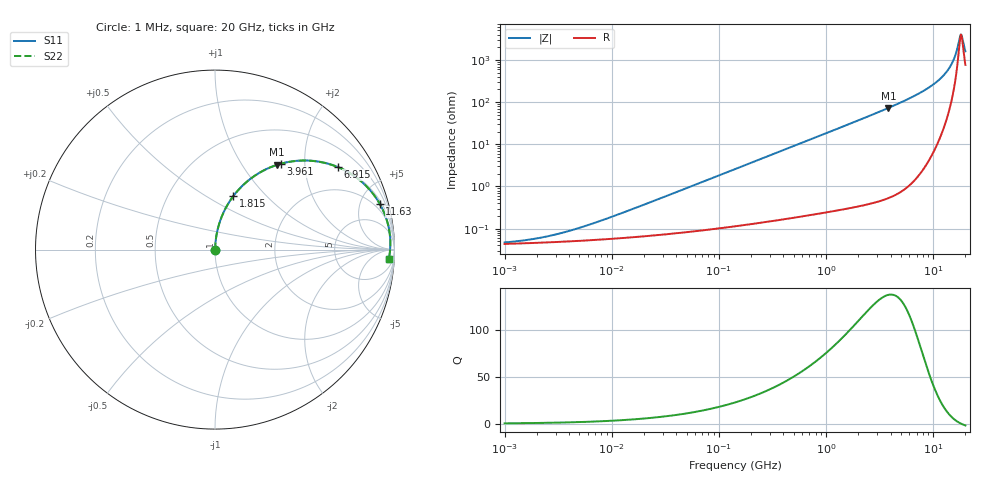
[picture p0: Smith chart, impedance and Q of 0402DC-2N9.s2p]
# MHz  S  MA  R  50
!Freq  MagS11  AngS11  MagS21  AngS21  MagS12  AngS12  MagS22  AngS22
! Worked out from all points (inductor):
!   801 points, 1 MHz to 20 GHz, reference 50 ohm
!   read as one part in series: L = 2.9 nH near 9.406 MHz
!   highest Q = 138 at 3.816 GHz (marker M1), where L = 3.03 nH
!   self-resonance near 18.17 GHz
!   S11 on the Smith chart (normalised r, x): 1 MHz: 1.00, +0.00; 1.815 GHz: 1.01, +0.67; 3.961 GHz: 1.01, +1.52; 6.915 GHz: 1.03, +2.95; 11.63 GHz: 1.29, +7.15; 20 GHz: 16, -28
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1  0.0004709 22.7  0.9996 -0.0  0.9996 -0.0  0.0004709 22.7
2.292543  0.0006267 41.8  0.9995 -0.0  0.9995 -0.0  0.0006267 41.8
5.255755  0.001088 61.6  0.9995 -0.1  0.9995 -0.1  0.001088 61.6
27.28302  0.005018 81.6  0.9993 -0.3  0.9993 -0.3  0.005018 81.6
141.6282  0.0258 86.0  0.9985 -1.5  0.9985 -1.5  0.0258 86.0
744.3631  0.1344 81.4  0.9888 -7.7  0.9888 -7.7  0.1344 81.4
1815.481  0.316 71.0  0.9457 -18.4  0.9457 -18.4  0.316 71.0
2665.053  0.4431 63.2  0.8929 -26.3  0.8929 -26.3  0.4431 63.2
3816.491  0.5862 53.7  0.8059 -35.9  0.8059 -35.9  0.5862 53.7
3864.044  0.5914 53.3  0.8021 -36.3  0.8021 -36.3  0.5914 53.3
3960.936  0.6018 52.6  0.7943 -37.0  0.7943 -37.0  0.6018 52.6
5266.098  0.7204 43.5  0.6879 -46.1  0.6879 -46.1  0.7204 43.5
6915.16  0.8233 34.0  0.5591 -55.4  0.5591 -55.4  0.8233 34.0
9193.763  0.9073 23.8  0.4035 -65.1  0.4035 -65.1  0.9073 23.8
11632.5  0.953 15.4  0.2664 -72.2  0.2664 -72.2  0.953 15.4
13329.98  0.9689 10.7  0.1859 -75.1  0.1859 -75.1  0.9689 10.7
14901.51  0.9761 6.8  0.1204 -75.1  0.1204 -75.1  0.9761 6.8
16050.84  0.9779 4.3  0.07771 -71.4  0.07771 -71.4  0.9779 4.3
17504.22  0.9772 1.4  0.03314 -45.8  0.03314 -45.8  0.9772 1.4
17943.14  0.9764 0.6  0.02553 -22.1  0.02553 -22.1  0.9764 0.6
18622.25  0.9747 -0.7  0.02786 24.4  0.02786 24.4  0.9747 -0.7
20000  0.9699 -3.0  0.06042 58.6  0.06042 58.6  0.9699 -3.0
